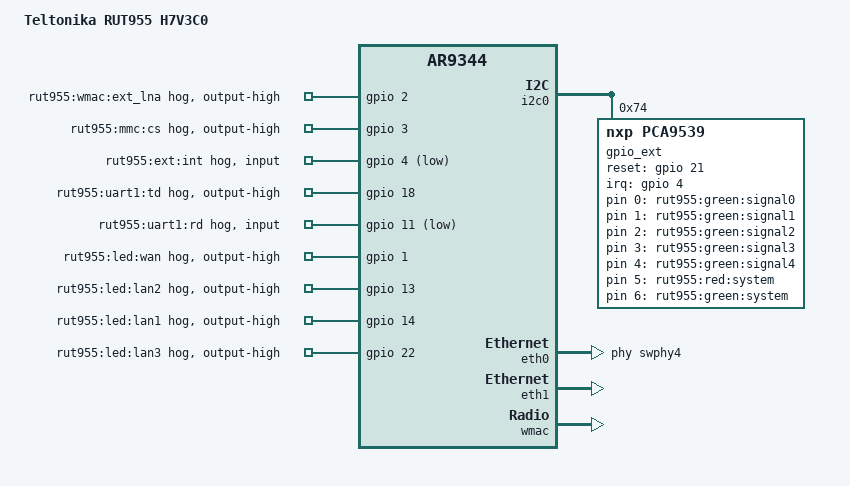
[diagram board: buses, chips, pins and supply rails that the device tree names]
// SPDX-License-Identifier: GPL-2.0-or-later OR MIT

#include "ar9344_teltonika_rut9xx.dtsi"
#include <dt-bindings/interrupt-controller/irq.h>

/ {
	model = "Teltonika RUT955 H7V3C0";
	compatible = "teltonika,rut955-h7v3c0", "teltonika,rut9xx", "qca,ar9344";

	aliases {
		led-boot = &led_system_green;
		led-failsafe = &led_system_red;
		led-running = &led_system_green;
		led-upgrade = &led_system_red;
	};

	leds {
		compatible = "gpio-leds";

		signal0 {
			label = "rut955:green:signal0";
			gpios = <&gpio_ext 0 GPIO_ACTIVE_HIGH>;
		};

		signal1 {
			label = "rut955:green:signal1";
			gpios = <&gpio_ext 1 GPIO_ACTIVE_HIGH>;
		};

		signal2 {
			label = "rut955:green:signal2";
			gpios = <&gpio_ext 2 GPIO_ACTIVE_HIGH>;
		};

		signal3 {
			label = "rut955:green:signal3";
			gpios = <&gpio_ext 3 GPIO_ACTIVE_HIGH>;
		};

		signal4 {
			label = "rut955:green:signal4";
			gpios = <&gpio_ext 4 GPIO_ACTIVE_HIGH>;
		};

		led_system_red: system_red {
			label = "rut955:red:system";
			gpios = <&gpio_ext 5 GPIO_ACTIVE_HIGH>;
		};

		led_system_green: system_green {
			label = "rut955:green:system";
			gpios = <&gpio_ext 6 GPIO_ACTIVE_HIGH>;
			default-state = "on";
		};
	};
};

&gpio {
	pinctrl-names = "default";
	pinctrl-0 = <&jtag_disable_pins>;

	gpio-line-names = "RS485_D", "led_wan", "wmac_lna", "mmc_cs",
		"EXT_INT", "", "", "",
		"", "", "", "",
		"", "led_lan2", "led_lan1", "",
		"i2c_scl", "i2c_sda", "", "",
		"", "", "led_lan3", "",
		"", "", "", "",
		"", "", "", "";

	ext_lna {
		gpio-hog;
		gpios = <2 GPIO_ACTIVE_HIGH>;
		output-high;
		line-name = "rut955:wmac:ext_lna";
	};

	mmc_cs {
		gpio-hog;
		gpios = <3 GPIO_ACTIVE_HIGH>;
		output-high;
		line-name = "rut955:mmc:cs";
	};

	ext_int {
		gpio-hog;
		gpios = <4 GPIO_ACTIVE_LOW>;
		input;
		line-name = "rut955:ext:int";
	};

	uart1_td {
		gpio-hog;
		gpios = <18 GPIO_ACTIVE_HIGH>;
		output-high;
		line-name = "rut955:uart1:td";
	};

	uart1_rd {
		gpio-hog;
		gpios = <11 GPIO_ACTIVE_LOW>;
		input;
		line-name = "rut955:uart1:rd";
	};

	led_wan {
		gpio-hog;
		gpios = <1 GPIO_ACTIVE_HIGH>;
		output-high;
		line-name = "rut955:led:wan";
	};

	led_lan2 {
		gpio-hog;
		gpios = <13 GPIO_ACTIVE_HIGH>;
		output-high;
		line-name = "rut955:led:lan2";
	};

	led_lan1 {
		gpio-hog;
		gpios = <14 GPIO_ACTIVE_HIGH>;
		output-high;
		line-name = "rut955:led:lan1";
	};

	led_lan3 {
		gpio-hog;
		gpios = <22 GPIO_ACTIVE_HIGH>;
		output-high;
		line-name = "rut955:led:lan3";
	};
};

&i2c0 {
	gpio_ext: gpio_ext@74 {
		status = "okay";

		compatible = "nxp,pca9539";
		reg = <0x74>;

		#address-cells = <1>;
		#size-cells = <0>;

		gpio-controller;
		#gpio-cells = <2>;

		reset-gpios = <&gpio 21 GPIO_ACTIVE_HIGH>;

		interrupt-parent = <&gpio>;
		interrupts = <4 IRQ_TYPE_EDGE_FALLING>;
		interrupt-controller;
		#interrupt-cells = <2>;

		gpio-line-names = "signal_bar0", "signal_bar1", "signal_bar2", "signal_bar3",
			"signal_bar4", "status_red", "status_green", "sim_sel",
			"DOUT1", "DOUT2", "DIN2", "DIN1",
			"MON", "MRST", "SDCD", "RS485_R";
	};
};

&hs_uart {
	dtr-gpios = <&gpio_ext 15 GPIO_ACTIVE_HIGH>;
};

&eth0 {
	status = "okay";

	phy-handle = <&swphy4>;

	mtd-mac-address = <&config 0x0>;
	mtd-mac-address-increment = <1>;
};

&eth1 {
	status = "okay";

	mtd-mac-address = <&config 0x0>;
};

&builtin_switch {
	pinctrl-names = "default";
	pinctrl-0 = <&pmx_leds_switch>;
};

&wmac {
	pinctrl-names = "default";
	pinctrl-0 = <&pmx_ext_lna>;
};

&pinmux {
	pmx_ext_lna: ext_lna {
		// EXT_LNA0 on GPIO 2
		pinctrl-single,bits = <0x0 0x002e0000 0x00ff0000>;
	};
};
